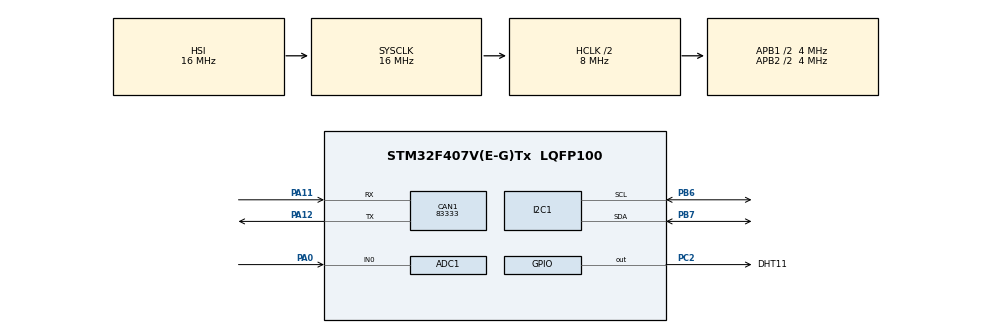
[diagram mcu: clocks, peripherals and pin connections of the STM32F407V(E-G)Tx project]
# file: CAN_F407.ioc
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ADC1.Channel-0\#ChannelRegularConversion=ADC_CHANNEL_0
ADC1.ClockPrescaler=ADC_CLOCK_SYNC_PCLK_DIV2
ADC1.NbrOfConversionFlag=1
ADC1.Rank-0\#ChannelRegularConversion=1
ADC1.SamplingTime-0\#ChannelRegularConversion=ADC_SAMPLETIME_3CYCLES
ADC1.master=1
CAN1.CalculateBaudRate=83333
CAN1.CalculateTimeBit=12000
CAN1.CalculateTimeQuantum=4000.0
CAN1.NART=ENABLE
Dma.ADC1.0.Direction=DMA_PERIPH_TO_MEMORY
Dma.ADC1.0.FIFOMode=DMA_FIFOMODE_DISABLE
Dma.ADC1.0.Instance=DMA2_Stream0
Dma.ADC1.0.MemDataAlignment=DMA_MDATAALIGN_HALFWORD
Dma.ADC1.0.MemInc=DMA_MINC_DISABLE
Dma.ADC1.0.Mode=DMA_NORMAL
Dma.ADC1.0.PeriphDataAlignment=DMA_PDATAALIGN_HALFWORD
Dma.ADC1.0.PeriphInc=DMA_PINC_DISABLE
Dma.ADC1.0.Priority=DMA_PRIORITY_LOW
Dma.I2C1_RX.1.Direction=DMA_PERIPH_TO_MEMORY
Dma.I2C1_RX.1.FIFOMode=DMA_FIFOMODE_DISABLE
Dma.I2C1_RX.1.Instance=DMA1_Stream0
Dma.I2C1_RX.1.MemDataAlignment=DMA_MDATAALIGN_BYTE
Dma.I2C1_RX.1.MemInc=DMA_MINC_ENABLE
Dma.I2C1_RX.1.Mode=DMA_NORMAL
Dma.I2C1_RX.1.PeriphDataAlignment=DMA_PDATAALIGN_BYTE
Dma.I2C1_RX.1.PeriphInc=DMA_PINC_DISABLE
Dma.I2C1_RX.1.Priority=DMA_PRIORITY_LOW
Dma.Request0=ADC1
Dma.Request1=I2C1_RX
Mcu.Family=STM32F4
Mcu.Name=STM32F407V(E-G)Tx
Mcu.Package=LQFP100
NVIC.CAN1_RX0_IRQn=true\:0\:0\:false\:false\:true\:true\:true\:true
NVIC.CAN1_TX_IRQn=true\:0\:0\:false\:false\:true\:true\:true\:true
NVIC.DMA1_Stream0_IRQn=true\:0\:0\:false\:false\:true\:false\:true\:true
NVIC.DMA2_Stream0_IRQn=true\:0\:0\:false\:false\:true\:false\:true\:true
NVIC.PriorityGroup=NVIC_PRIORITYGROUP_0
NVIC.TIM2_IRQn=true\:0\:0\:false\:false\:true\:true\:true\:true
PA0-WKUP.Signal=ADCx_IN0
PA11.Mode=CAN_Activate
PA11.Signal=CAN1_RX
PA12.Mode=CAN_Activate
PA12.Signal=CAN1_TX
PB6.Mode=I2C
PB6.Signal=I2C1_SCL
PB7.Mode=I2C
PB7.Signal=I2C1_SDA
PC2.GPIO_Label=DHT11
PC2.Signal=GPIO_Output
ProjectManager.HeapSize=0x200
ProjectManager.StackSize=0x400
ProjectManager.TargetToolchain=STM32CubeIDE
RCC.48MHZClocksFreq_Value=18285714.285714287
RCC.AHBCLKDivider=RCC_SYSCLK_DIV2
RCC.AHBFreq_Value=8000000
RCC.APB1CLKDivider=RCC_HCLK_DIV2
RCC.APB1Freq_Value=4000000
RCC.APB1TimFreq_Value=8000000
RCC.APB2CLKDivider=RCC_HCLK_DIV2
RCC.APB2Freq_Value=4000000
RCC.APB2TimFreq_Value=8000000
RCC.CortexFreq_Value=8000000
RCC.HCLKFreq_Value=8000000
RCC.HSE_VALUE=8000000
RCC.HSI_VALUE=16000000
RCC.LSE_VALUE=32768
RCC.PLLM=8
RCC.PLLN=64
RCC.PLLQ=7
RCC.SYSCLKFreq_VALUE=16000000
RCC.VCOOutputFreq_Value=128000000
SH.ADCx_IN0.0=ADC1_IN0,IN0
TIM1.Prescaler=7
TIM2.AutoReloadPreload=TIM_AUTORELOAD_PRELOAD_ENABLE
TIM2.Period=7999
TIM3.AutoReloadPreload=TIM_AUTORELOAD_PRELOAD_ENABLE
TIM3.Period=1998
TIM4.AutoReloadPreload=TIM_AUTORELOAD_PRELOAD_ENABLE
TIM4.Period=7
VP_TIM1_VS_ClockSourceINT.Mode=Internal
VP_TIM2_VS_ClockSourceINT.Mode=Internal
VP_TIM3_VS_ClockSourceINT.Mode=Internal
VP_TIM4_VS_ClockSourceINT.Mode=Internal
board=STM32F407G-DISC1

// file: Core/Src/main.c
/* USER CODE BEGIN Header */
/**
  ******************************************************************************
  * @file           : main.c
  * @brief          : Main program body
  ******************************************************************************
  * @attention
  *
  * Copyright (c) 2026 STMicroelectronics.
  * All rights reserved.
  *
  * This software is licensed under terms that can be found in the LICENSE file
  * in the root directory of this software component.
  * If no LICENSE file comes with this software, it is provided AS-IS.
  *
  ******************************************************************************
  */
/* USER CODE END Header */
#include "main.h"

/* USER CODE BEGIN Includes */
#include "adc_sensor.h"
#include "dht11.h"
#include "mpu6050.h"
#include "can.h"
/* USER CODE END Includes */

ADC_HandleTypeDef hadc1;
DMA_HandleTypeDef hdma_adc1;

CAN_HandleTypeDef hcan1;

I2C_HandleTypeDef hi2c1;
DMA_HandleTypeDef hdma_i2c1_rx;

TIM_HandleTypeDef htim1;
TIM_HandleTypeDef htim2;
TIM_HandleTypeDef htim3;
TIM_HandleTypeDef htim4;

/* USER CODE BEGIN PV */
extern uint16_t lum_value;
extern dht11_t dht11;
extern MPU6050_t imu;

uint32_t adc_mailbox;
uint32_t imu_mailbox;
uint32_t dht11_mailbox;

CAN_TxHeaderTypeDef adc_canHeader;
CAN_TxHeaderTypeDef imu_canHeader;
CAN_TxHeaderTypeDef dht11_canHeader;
/* USER CODE END PV */

void SystemClock_Config(void);
static void MX_GPIO_Init(void);
static void MX_DMA_Init(void);
static void MX_ADC1_Init(void);
static void MX_I2C1_Init(void);
static void MX_CAN1_Init(void);
static void MX_TIM2_Init(void);
static void MX_TIM3_Init(void);
static void MX_TIM4_Init(void);
static void MX_TIM1_Init(void);

int main(void)
{

  /* MCU Configuration--------------------------------------------------------*/

  /* Reset of all peripherals, Initializes the Flash interface and the Systick. */
  HAL_Init();

  /* Configure the system clock */
  SystemClock_Config();

  /* Initialize all configured peripherals */
  MX_GPIO_Init();
  MX_DMA_Init();
  MX_ADC1_Init();
  MX_I2C1_Init();
  MX_CAN1_Init();
  MX_TIM2_Init();
  MX_TIM3_Init();
  MX_TIM4_Init();
  MX_TIM1_Init();
  /* USER CODE BEGIN 2 */
  Can_Init(&adc_canHeader, &dht11_canHeader, &imu_canHeader);
  DHT11_Start();
  MPU6050_Init(&imu);

  if (HAL_CAN_ActivateNotification(&hcan1, CAN_IT_TX_MAILBOX_EMPTY | CAN_IT_RX_FIFO0_MSG_PENDING) != HAL_OK){
	  Error_Handler();
  }
  if (HAL_CAN_Start(&hcan1) != HAL_OK){
	  Error_Handler();
  }
  /* USER CODE END 2 */

  /* Infinite loop */
  while (1)
  {

  }
}

void SystemClock_Config(void)
{
  RCC_OscInitTypeDef RCC_OscInitStruct = {0};
  RCC_ClkInitTypeDef RCC_ClkInitStruct = {0};

  /** Configure the main internal regulator output voltage
  */
  __HAL_RCC_PWR_CLK_ENABLE();
  __HAL_PWR_VOLTAGESCALING_CONFIG(PWR_REGULATOR_VOLTAGE_SCALE1);

  /** Initializes the RCC Oscillators according to the specified parameters
  * in the RCC_OscInitTypeDef structure.
  */
  RCC_OscInitStruct.OscillatorType = RCC_OSCILLATORTYPE_HSI;
  RCC_OscInitStruct.HSIState = RCC_HSI_ON;
  RCC_OscInitStruct.HSICalibrationValue = RCC_HSICALIBRATION_DEFAULT;
  RCC_OscInitStruct.PLL.PLLState = RCC_PLL_NONE;
  if (HAL_RCC_OscConfig(&RCC_OscInitStruct) != HAL_OK)
  {
    Error_Handler();
  }

  /** Initializes the CPU, AHB and APB buses clocks
  */
  RCC_ClkInitStruct.ClockType = RCC_CLOCKTYPE_HCLK|RCC_CLOCKTYPE_SYSCLK
                              |RCC_CLOCKTYPE_PCLK1|RCC_CLOCKTYPE_PCLK2;
  RCC_ClkInitStruct.SYSCLKSource = RCC_SYSCLKSOURCE_HSI;
  RCC_ClkInitStruct.AHBCLKDivider = RCC_SYSCLK_DIV2;
  RCC_ClkInitStruct.APB1CLKDivider = RCC_HCLK_DIV2;
  RCC_ClkInitStruct.APB2CLKDivider = RCC_HCLK_DIV2;

  if (HAL_RCC_ClockConfig(&RCC_ClkInitStruct, FLASH_LATENCY_0) != HAL_OK)
  {
    Error_Handler();
  }
}

static void MX_ADC1_Init(void)
{

  ADC_ChannelConfTypeDef sConfig = {0};

  /** Configure the global features of the ADC (Clock, Resolution, Data Alignment and number of conversion)
  */
  hadc1.Instance = ADC1;
  hadc1.Init.ClockPrescaler = ADC_CLOCK_SYNC_PCLK_DIV2;
  hadc1.Init.Resolution = ADC_RESOLUTION_12B;
  hadc1.Init.ScanConvMode = DISABLE;
  hadc1.Init.ContinuousConvMode = DISABLE;
  hadc1.Init.DiscontinuousConvMode = DISABLE;
  hadc1.Init.ExternalTrigConvEdge = ADC_EXTERNALTRIGCONVEDGE_NONE;
  hadc1.Init.ExternalTrigConv = ADC_SOFTWARE_START;
  hadc1.Init.DataAlign = ADC_DATAALIGN_RIGHT;
  hadc1.Init.NbrOfConversion = 1;
  hadc1.Init.DMAContinuousRequests = DISABLE;
  hadc1.Init.EOCSelection = ADC_EOC_SINGLE_CONV;
  if (HAL_ADC_Init(&hadc1) != HAL_OK)
  {
    Error_Handler();
  }

  /** Configure for the selected ADC regular channel its corresponding rank in the sequencer and its sample time.
  */
  sConfig.Channel = ADC_CHANNEL_0;
  sConfig.Rank = 1;
  sConfig.SamplingTime = ADC_SAMPLETIME_3CYCLES;
  if (HAL_ADC_ConfigChannel(&hadc1, &sConfig) != HAL_OK)
  {
    Error_Handler();
  }

}

static void MX_CAN1_Init(void)
{

  hcan1.Instance = CAN1;
  hcan1.Init.Prescaler = 16;
  hcan1.Init.Mode = CAN_MODE_NORMAL;
  hcan1.Init.SyncJumpWidth = CAN_SJW_1TQ;
  hcan1.Init.TimeSeg1 = CAN_BS1_1TQ;
  hcan1.Init.TimeSeg2 = CAN_BS2_1TQ;
  hcan1.Init.TimeTriggeredMode = DISABLE;
  hcan1.Init.AutoBusOff = DISABLE;
  hcan1.Init.AutoWakeUp = DISABLE;
  hcan1.Init.AutoRetransmission = ENABLE;
  hcan1.Init.ReceiveFifoLocked = DISABLE;
  hcan1.Init.TransmitFifoPriority = DISABLE;
  if (HAL_CAN_Init(&hcan1) != HAL_OK)
  {
    Error_Handler();
  }

}

static void MX_I2C1_Init(void)
{

  hi2c1.Instance = I2C1;
  hi2c1.Init.ClockSpeed = 100000;
  hi2c1.Init.DutyCycle = I2C_DUTYCYCLE_2;
  hi2c1.Init.OwnAddress1 = 0;
  hi2c1.Init.AddressingMode = I2C_ADDRESSINGMODE_7BIT;
  hi2c1.Init.DualAddressMode = I2C_DUALADDRESS_DISABLE;
  hi2c1.Init.OwnAddress2 = 0;
  hi2c1.Init.GeneralCallMode = I2C_GENERALCALL_DISABLE;
  hi2c1.Init.NoStretchMode = I2C_NOSTRETCH_DISABLE;
  if (HAL_I2C_Init(&hi2c1) != HAL_OK)
  {
    Error_Handler();
  }

}

static void MX_TIM1_Init(void)
{

  TIM_ClockConfigTypeDef sClockSourceConfig = {0};
  TIM_MasterConfigTypeDef sMasterConfig = {0};

  htim1.Instance = TIM1;
  htim1.Init.Prescaler = 7;
  htim1.Init.CounterMode = TIM_COUNTERMODE_UP;
  htim1.Init.Period = 65535;
  htim1.Init.ClockDivision = TIM_CLOCKDIVISION_DIV1;
  htim1.Init.RepetitionCounter = 0;
  htim1.Init.AutoReloadPreload = TIM_AUTORELOAD_PRELOAD_DISABLE;
  if (HAL_TIM_Base_Init(&htim1) != HAL_OK)
  {
    Error_Handler();
  }
  sClockSourceConfig.ClockSource = TIM_CLOCKSOURCE_INTERNAL;
  if (HAL_TIM_ConfigClockSource(&htim1, &sClockSourceConfig) != HAL_OK)
  {
    Error_Handler();
  }
  sMasterConfig.MasterOutputTrigger = TIM_TRGO_RESET;
  sMasterConfig.MasterSlaveMode = TIM_MASTERSLAVEMODE_DISABLE;
  if (HAL_TIMEx_MasterConfigSynchronization(&htim1, &sMasterConfig) != HAL_OK)
  {
    Error_Handler();
  }

}

static void MX_TIM2_Init(void)
{

  TIM_ClockConfigTypeDef sClockSourceConfig = {0};
  TIM_MasterConfigTypeDef sMasterConfig = {0};

  htim2.Instance = TIM2;
  htim2.Init.Prescaler = 0;
  htim2.Init.CounterMode = TIM_COUNTERMODE_UP;
  htim2.Init.Period = 7999;
  htim2.Init.ClockDivision = TIM_CLOCKDIVISION_DIV1;
  htim2.Init.AutoReloadPreload = TIM_AUTORELOAD_PRELOAD_ENABLE;
  if (HAL_TIM_Base_Init(&htim2) != HAL_OK)
  {
    Error_Handler();
  }
  sClockSourceConfig.ClockSource = TIM_CLOCKSOURCE_INTERNAL;
  if (HAL_TIM_ConfigClockSource(&htim2, &sClockSourceConfig) != HAL_OK)
  {
    Error_Handler();
  }
  sMasterConfig.MasterOutputTrigger = TIM_TRGO_RESET;
  sMasterConfig.MasterSlaveMode = TIM_MASTERSLAVEMODE_DISABLE;
  if (HAL_TIMEx_MasterConfigSynchronization(&htim2, &sMasterConfig) != HAL_OK)
  {
    Error_Handler();
  }

}

static void MX_TIM3_Init(void)
{

  TIM_ClockConfigTypeDef sClockSourceConfig = {0};
  TIM_MasterConfigTypeDef sMasterConfig = {0};

  htim3.Instance = TIM3;
  htim3.Init.Prescaler = 0;
  htim3.Init.CounterMode = TIM_COUNTERMODE_UP;
  htim3.Init.Period = 1998;
  htim3.Init.ClockDivision = TIM_CLOCKDIVISION_DIV1;
  htim3.Init.AutoReloadPreload = TIM_AUTORELOAD_PRELOAD_ENABLE;
  if (HAL_TIM_Base_Init(&htim3) != HAL_OK)
  {
    Error_Handler();
  }
  sClockSourceConfig.ClockSource = TIM_CLOCKSOURCE_INTERNAL;
  if (HAL_TIM_ConfigClockSource(&htim3, &sClockSourceConfig) != HAL_OK)
  {
    Error_Handler();
  }
  sMasterConfig.MasterOutputTrigger = TIM_TRGO_RESET;
  sMasterConfig.MasterSlaveMode = TIM_MASTERSLAVEMODE_DISABLE;
  if (HAL_TIMEx_MasterConfigSynchronization(&htim3, &sMasterConfig) != HAL_OK)
  {
    Error_Handler();
  }

}

static void MX_TIM4_Init(void)
{

  TIM_ClockConfigTypeDef sClockSourceConfig = {0};
  TIM_MasterConfigTypeDef sMasterConfig = {0};

  htim4.Instance = TIM4;
  htim4.Init.Prescaler = 0;
  htim4.Init.CounterMode = TIM_COUNTERMODE_UP;
  htim4.Init.Period = 7;
  htim4.Init.ClockDivision = TIM_CLOCKDIVISION_DIV1;
  htim4.Init.AutoReloadPreload = TIM_AUTORELOAD_PRELOAD_ENABLE;
  if (HAL_TIM_Base_Init(&htim4) != HAL_OK)
  {
    Error_Handler();
  }
  sClockSourceConfig.ClockSource = TIM_CLOCKSOURCE_INTERNAL;
  if (HAL_TIM_ConfigClockSource(&htim4, &sClockSourceConfig) != HAL_OK)
  {
    Error_Handler();
  }
  sMasterConfig.MasterOutputTrigger = TIM_TRGO_RESET;
  sMasterConfig.MasterSlaveMode = TIM_MASTERSLAVEMODE_DISABLE;
  if (HAL_TIMEx_MasterConfigSynchronization(&htim4, &sMasterConfig) != HAL_OK)
  {
    Error_Handler();
  }

}

static void MX_DMA_Init(void)
{

  /* DMA controller clock enable */
  __HAL_RCC_DMA2_CLK_ENABLE();
  __HAL_RCC_DMA1_CLK_ENABLE();

  /* DMA interrupt init */
  /* DMA1_Stream0_IRQn interrupt configuration */
  HAL_NVIC_SetPriority(DMA1_Stream0_IRQn, 0, 0);
  HAL_NVIC_EnableIRQ(DMA1_Stream0_IRQn);
  /* DMA2_Stream0_IRQn interrupt configuration */
  HAL_NVIC_SetPriority(DMA2_Stream0_IRQn, 0, 0);
  HAL_NVIC_EnableIRQ(DMA2_Stream0_IRQn);

}

static void MX_GPIO_Init(void)
{
  GPIO_InitTypeDef GPIO_InitStruct = {0};

  /* GPIO Ports Clock Enable */
  __HAL_RCC_GPIOC_CLK_ENABLE();
  __HAL_RCC_GPIOA_CLK_ENABLE();
  __HAL_RCC_GPIOB_CLK_ENABLE();

  /*Configure GPIO pin Output Level */
  HAL_GPIO_WritePin(DHT11_GPIO_Port, DHT11_Pin, GPIO_PIN_RESET);

  /*Configure GPIO pin : DHT11_Pin */
  GPIO_InitStruct.Pin = DHT11_Pin;
  GPIO_InitStruct.Mode = GPIO_MODE_OUTPUT_PP;
  GPIO_InitStruct.Pull = GPIO_NOPULL;
  GPIO_InitStruct.Speed = GPIO_SPEED_FREQ_LOW;
  HAL_GPIO_Init(DHT11_GPIO_Port, &GPIO_InitStruct);

}

/* USER CODE BEGIN 4 */
void HAL_ADC_ConvCpltCallback(ADC_HandleTypeDef* hadc){
	Get_Lum_Val_DMA_Complete();
	Send_Lum_Can(&adc_canHeader, lum_value, &adc_mailbox);
}
void HAL_I2C_MemRxCpltCallback(I2C_HandleTypeDef *hi2c){
	uint64_t imu_frame = 0;
	MPU6050_Read_IMU_DMA_Complete(&imu);
	imu_frame = Encode_Imu(&imu);
	Send_Imu_Can(&imu_canHeader, imu_frame, &imu_mailbox);
}

void HAL_CAN_TxMailbox0CompleteCallback(CAN_HandleTypeDef *hcan){

}

void HAL_CAN_TxMailbox1CompleteCallback(CAN_HandleTypeDef *hcan){

}

void HAL_CAN_TxMailbox2CompleteCallback(CAN_HandleTypeDef *hcan){

}

void HAL_CAN_RxFifo0MsgPendingCallback(CAN_HandleTypeDef *hcan){

}
void HAL_TIM_PeriodElapsedCallback(TIM_HandleTypeDef* htim)
{
	if (htim->Instance == TIM2){
		uint64_t dht11_frame = 0;
		//1Khz frequecny for dht11
		dht11.hum = DHT11_Read(); //need to fix how are we reading hte dht11
		dht11_frame = Encode_Dht11(&dht11);
		Send_dht11_Can(&dht11_canHeader, dht11_frame, &dht11_mailbox);
	}
	else if (htim->Instance == TIM3){
		//4Khz frequency for the imu
		MPU6050_Read_IMU_DMA(&imu);
	}
	else if (htim->Instance == TIM4){
		//1mhz frequency for the adc
		Get_Lum_Val_DMA();

	}
}
/* USER CODE END 4 */

void Error_Handler(void)
{
  __disable_irq();
  while (1)
  {
  }
}
